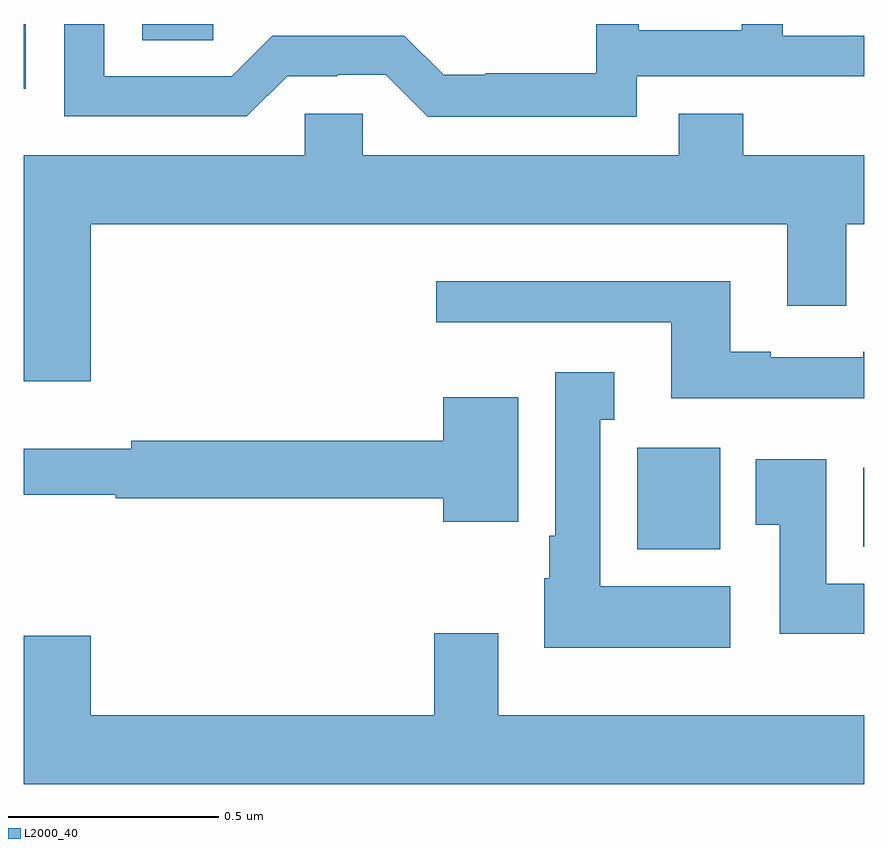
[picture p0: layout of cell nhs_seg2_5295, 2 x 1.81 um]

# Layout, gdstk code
import gdstk
lib = gdstk.Library(unit=1e-6, precision=1e-09)
def R(c, l, rs):  # rectangles x0, y0, x1, y1
    for r in rs: c.add(gdstk.rectangle(r[:2], r[2:], *l))
def P(c, l, *ps):  # polygons
    for p in ps: c.add(gdstk.Polygon(p, *l))
L2000_40 = (2000, 40)

nhs_seg2_5295 = lib.new_cell('nhs_seg2_5295')
R(nhs_seg2_5295, L2000_40, [(178.46,625.55,178.657,625.792), (178.997,625.556,179,625.744), (177,626.646,177.005,626.8), (177.282,626.761,177.451,626.8)])
P(nhs_seg2_5295, L2000_40, [(178.458,626.676),(179,626.676),(179,626.772),(178.806,626.772),(178.806,626.8),(178.708,626.8),(178.708,626.785),(178.463,626.785),(178.463,626.8),(178.362,626.8),(178.362,626.683),(178.099,626.683),(178.099,626.679),(177.999,626.679),(177.906,626.772),(177.591,626.772),(177.495,626.676),(177.192,626.676),(177.192,626.8),(177.096,626.8),(177.096,626.58),(177.531,626.58),(177.627,626.676),(177.746,626.676),(177.746,626.679),(177.861,626.679),(177.961,626.579),(178.458,626.579)],
  [(177.16,626.324),(178.817,626.324),(178.817,626.13),(178.957,626.13),(178.957,626.324),(179,626.324),(179,626.488),(178.712,626.488),(178.712,626.587),(178.559,626.587),(178.559,626.488),(177.807,626.488),(177.807,626.586),(177.669,626.586),(177.669,626.488),(177,626.488),(177,625.95),(177.16,625.95)],
  [(179,626.02),(178.997,626.02),(178.997,626.007),(178.777,626.007),(178.777,626.02),(178.681,626.02),(178.681,626.188),(177.981,626.188),(177.981,626.091),(178.541,626.091),(178.541,625.91),(179,625.91)],
  [(178.681,625.462),(178.372,625.462),(178.372,625.859),(178.405,625.859),(178.405,625.972),(178.265,625.972),(178.265,625.582),(178.25,625.582),(178.25,625.482),(178.238,625.482),(178.238,625.316),(178.681,625.316)],
  [(178.177,625.912),(177.998,625.912),(177.998,625.808),(177.256,625.808),(177.256,625.789),(177,625.789),(177,625.68),(177.219,625.68),(177.219,625.672),(177.998,625.672),(177.998,625.616),(178.177,625.616)],
  [(179,625.468),(178.909,625.468),(178.909,625.765),(178.742,625.765),(178.742,625.609),(178.799,625.609),(178.799,625.35),(179,625.35)],
  [(179,625.156),(178.129,625.156),(178.129,625.351),(177.977,625.351),(177.977,625.156),(177.16,625.156),(177.16,625.345),(177,625.345),(177,624.992),(179,624.992)])

lib.write_gds('nhs_seg2_5295.gds')
